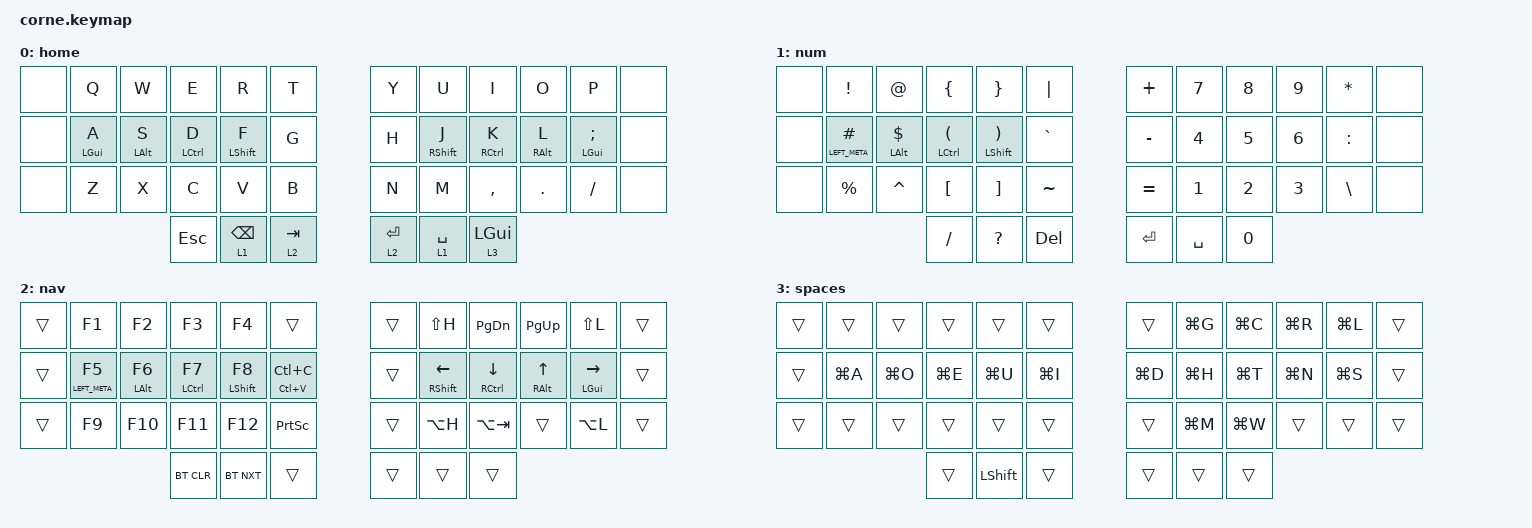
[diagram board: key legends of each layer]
/*
 * Copyright (c) 2020 The ZMK Contributors
 *
 * SPDX-License-Identifier: MIT
 */

#include <behaviors.dtsi>
#include <dt-bindings/zmk/bt.h>
#include <dt-bindings/zmk/keys.h>

/ {
    behaviors {
        hm: homerow_mods {
            compatible = "zmk,behavior-hold-tap";
            label = "HOMEROW_MODS";
            bindings = <&kp>, <&kp>;

            #binding-cells = <2>;
            tapping-term-ms = <185>;
            flavor = "tap-preferred";
            quick-tap-ms = <185>;
        };
    };

    combos {
        compatible = "zmk,combos";

        caps {
            bindings = <&kp CAPS>;
            key-positions = <16 19>;
        };

        under {
            bindings = <&kp UNDER>;
            key-positions = <28 31>;
        };

        dash {
            bindings = <&kp MINUS>;
            key-positions = <4 7>;
        };
    };

    keymap {
        compatible = "zmk,keymap";

        home {
            // -----------------------------------------------------------------------------------------
            // |  TAB |  Q  |  W  |  E  |  R  |  T  |   |  Y  |  U   |  I  |  O  |  P  | BKSP |
            // | CTRL |  A  |  S  |  D  |  F  |  G  |   |  H  |  J   |  K  |  L  |  ;  |  '   |
            // | SHFT |  Z  |  X  |  C  |  V  |  B  |   |  N  |  M   |  ,  |  .  |  /  | ESC  |
            //                    | GUI | LWR | SPC |   | ENT | RSE  | ALT |

            bindings = <
&none  &kp Q            &kp W                &kp E                    &kp R                  &kp T        &kp Y        &kp U              &kp I             &kp O                 &kp P                    &none
&none  &hm LGUI A  &hm LEFT_ALT S  &hm LEFT_CONTROL D  &hm LEFT_SHIFT F  &kp G        &kp H        &hm RSHIFT J  &hm RCTRL K  &hm RIGHT_ALT L  &hm LGUI SEMICOLON  &none
&none  &kp Z            &kp X                &kp C                    &kp V                  &kp B        &kp N        &kp M              &kp COMMA         &kp PERIOD            &kp SLASH                &none
                                             &kp ESCAPE               &lt 1 BACKSPACE        &lt 2 TAB    &lt 2 ENTER  &lt 1 SPACE        &lt 3 LGUI
            >;

            label = "home";
        };

        num {
            // -----------------------------------------------------------------------------------------
            // |  TAB |  !  |  @  |  #  |  $  |  %  |   |  ^  |  &  |  *  |  (  |  )  | BKSP |
            // | CTRL |     |     |     |     |     |   |  -  |  =  |  [  |  ]  |  \  |  `   |
            // | SHFT |     |     |     |     |     |   |  _  |  +  |  {  |  }  | "|" |  ~   |
            //                    | GUI |     | SPC |   | ENT |     | ALT |

            bindings = <
&none  &kp EXCL            &kp AT               &kp LEFT_BRACE              &kp RIGHT_BRACE                   &kp PIPE     &kp PLUS   &kp NUMBER_7  &kp N8        &kp N9                    &kp ASTERISK   &none
&none  &hm LEFT_META HASH  &hm LEFT_ALT DOLLAR  &hm LCTRL LEFT_PARENTHESIS  &hm LEFT_SHIFT RIGHT_PARENTHESIS  &kp GRAVE    &kp MINUS  &kp NUMBER_4  &kp NUMBER_5  &kp NUMBER_6              &kp COLON      &none
&none  &kp PERCENT         &kp CARET            &kp LEFT_BRACKET            &kp RIGHT_BRACKET                 &kp TILDE    &kp EQUAL  &kp NUMBER_1  &kp NUMBER_2  &kp NUMBER_3  &kp BACKSLASH  &none
                                                &kp SLASH                   &kp QUESTION                      &kp DEL      &kp RET    &kp SPACE     &kp N0
            >;

            label = "num";
        };

        nav {
            bindings = <
&trans  &kp F1            &kp F2           &kp F3        &kp F4             &trans             &trans  &kp LS(H)  &kp PG_DN    &kp PG_UP  &kp LS(L)  &trans
&trans  &hm LEFT_META F5  &hm LEFT_ALT F6  &hm LCTRL F7  &hm LEFT_SHIFT F8  &hm LC(V) LC(C)    &trans  &hm RSHIFT LEFT  &hm RCTRL DOWN  &hm RIGHT_ALT UP  &hm LGUI RIGHT  &trans
&trans  &kp F9            &kp F10          &kp F11       &kp F12            &kp PSCRN          &trans  &kp LA(H)  &kp LA(TAB)  &trans     &kp LA(L)  &trans
                                           &bt BT_CLR    &bt BT_NXT         &trans             &trans  &trans     &trans
            >;

            label = "nav";
        };

        spaces {
            bindings = <
&trans  &trans     &trans     &trans     &trans          &trans       &trans     &kp LG(G)  &kp LG(C)  &kp LG(R)  &kp LG(L)  &trans
&trans  &kp LG(A)  &kp LG(O)  &kp LG(E)  &kp LG(U)       &kp LG(I)    &kp LG(D)  &kp LG(H)  &kp LG(T)  &kp LG(N)  &kp LG(S)  &trans
&trans  &trans     &trans     &trans     &trans          &trans       &trans     &kp LG(M)  &kp LG(W)  &trans     &trans     &trans
                              &trans     &kp LEFT_SHIFT  &trans       &trans     &trans     &trans
            >;
        };
    };
};
